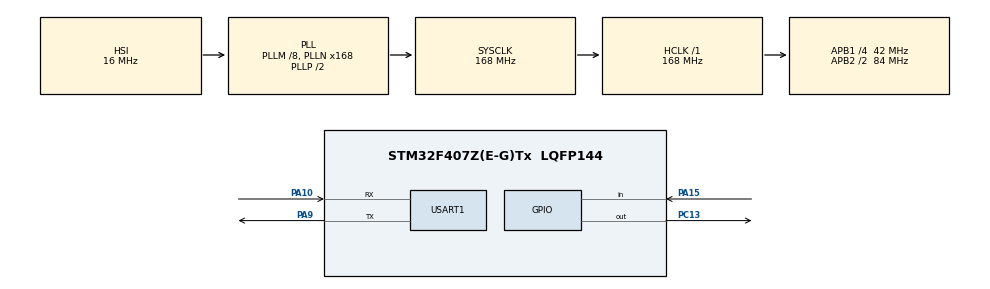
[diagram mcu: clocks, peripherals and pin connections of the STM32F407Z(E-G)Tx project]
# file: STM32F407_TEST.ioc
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FREERTOS.Tasks01=defaultTask,0,128,StartDefaultTask,Default,NULL,Dynamic,NULL,NULL;btnTask,0,256,BtnTask,Default,NULL,Dynamic,NULL,NULL
Mcu.Family=STM32F4
Mcu.Name=STM32F407Z(E-G)Tx
Mcu.Package=LQFP144
NVIC.PriorityGroup=NVIC_PRIORITYGROUP_4
NVIC.TIM1_UP_TIM10_IRQn=true\:15\:0\:false\:false\:true\:false\:false\:true\:true
NVIC.TimeBase=TIM1_UP_TIM10_IRQn
NVIC.TimeBaseIP=TIM1
PA10.Mode=Asynchronous
PA10.Signal=USART1_RX
PA13.Mode=Serial_Wire
PA13.Signal=SYS_JTMS-SWDIO
PA14.Mode=Serial_Wire
PA14.Signal=SYS_JTCK-SWCLK
PA15.Signal=GPIO_Input
PA9.Mode=Asynchronous
PA9.Signal=USART1_TX
PC13-ANTI_TAMP.Signal=GPIO_Output
PC14-OSC32_IN.Mode=LSE-External-Oscillator
PC14-OSC32_IN.Signal=RCC_OSC32_IN
PC15-OSC32_OUT.Mode=LSE-External-Oscillator
PC15-OSC32_OUT.Signal=RCC_OSC32_OUT
PH0-OSC_IN.Mode=HSE-External-Oscillator
PH0-OSC_IN.Signal=RCC_OSC_IN
PH1-OSC_OUT.Mode=HSE-External-Oscillator
PH1-OSC_OUT.Signal=RCC_OSC_OUT
ProjectManager.HeapSize=0x200
ProjectManager.StackSize=0x400
ProjectManager.TargetToolchain=CMake
RCC.48MHZClocksFreq_Value=84000000
RCC.AHBFreq_Value=168000000
RCC.APB1CLKDivider=RCC_HCLK_DIV4
RCC.APB1Freq_Value=42000000
RCC.APB1TimFreq_Value=84000000
RCC.APB2CLKDivider=RCC_HCLK_DIV2
RCC.APB2Freq_Value=84000000
RCC.APB2TimFreq_Value=168000000
RCC.CortexFreq_Value=168000000
RCC.HCLKFreq_Value=168000000
RCC.HSE_VALUE=8000000
RCC.HSI_VALUE=16000000
RCC.PLLM=8
RCC.PLLN=168
RCC.SYSCLKFreq_VALUE=168000000
RCC.SYSCLKSource=RCC_SYSCLKSOURCE_PLLCLK
RCC.VCOOutputFreq_Value=336000000
USART1.VirtualMode=VM_ASYNC
VP_FREERTOS_VS_CMSIS_V1.Mode=CMSIS_V1
VP_SYS_VS_tim1.Mode=TIM1
board=custom

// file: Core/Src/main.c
/* USER CODE BEGIN Header */
/**
  ******************************************************************************
  * @file           : main.c
  * @brief          : Main program body
  ******************************************************************************
  * @attention
  *
  * Copyright (c) 2026 STMicroelectronics.
  * All rights reserved.
  *
  * This software is licensed under terms that can be found in the LICENSE file
  * in the root directory of this software component.
  * If no LICENSE file comes with this software, it is provided AS-IS.
  *
  ******************************************************************************
  */
/* USER CODE END Header */
#include "main.h"
#include "cmsis_os.h"
#include "usart.h"
#include "gpio.h"

/* USER CODE BEGIN Includes */
#include <elog.h>
#include "led_ctrl.h"
/* USER CODE END Includes */

void SystemClock_Config(void);
void MX_FREERTOS_Init(void);

int main(void)
{

  /* MCU Configuration--------------------------------------------------------*/

  /* Reset of all peripherals, Initializes the Flash interface and the Systick. */
  HAL_Init();

  /* Configure the system clock */
  SystemClock_Config();

  /* Initialize all configured peripherals */
  MX_GPIO_Init();
  MX_USART1_UART_Init();
  /* USER CODE BEGIN 2 */
  /* PA15 按键引脚修正（补内部上拉），必须在 MX_GPIO_Init() 之后 */
  GPIO_PA15_ButtonInit();

  /* EasyLogger 初始化：必须放在 MX_USART1_UART_Init() 之后、任务开始打印日志之前。
   * elog_init() 会创建输出锁（FreeRTOS 互斥量，调度器启动前创建是允许的）；
   * elog_start() 打印启动横幅，此时调度器未启动，走阻塞发送分支正常出字。 */
  elog_init();
  /* 逐级设置日志格式。注意：elog.c 中 elog 对象是零初始化的，不调用本接口则
   * 所有格式项均为关闭状态，日志只剩裸消息（无等级/tag/时间）。
   * 这里开启：等级 + tag + 时间 + 任务名 + 函数名 + 行号（不含进程信息、不含文件路径）。 */
  for (uint8_t lvl = ELOG_LVL_ASSERT; lvl <= ELOG_LVL_VERBOSE; lvl++)
  {
    elog_set_fmt(lvl, ELOG_FMT_LVL | ELOG_FMT_TAG | ELOG_FMT_TIME |
                      ELOG_FMT_T_INFO | ELOG_FMT_FUNC | ELOG_FMT_LINE);
  }
  elog_start();
  /* USER CODE END 2 */

  /* Call init function for freertos objects (in cmsis_os2.c) */
  MX_FREERTOS_Init();

  /* Start scheduler */
  osKernelStart();

  /* We should never get here as control is now taken by the scheduler */

  /* Infinite loop */
  while (1)
  {

  }
}

void SystemClock_Config(void)
{
  RCC_OscInitTypeDef RCC_OscInitStruct = {0};
  RCC_ClkInitTypeDef RCC_ClkInitStruct = {0};

  /** Configure the main internal regulator output voltage
  */
  __HAL_RCC_PWR_CLK_ENABLE();
  __HAL_PWR_VOLTAGESCALING_CONFIG(PWR_REGULATOR_VOLTAGE_SCALE1);

  /** Initializes the RCC Oscillators according to the specified parameters
  * in the RCC_OscInitTypeDef structure.
  */
  RCC_OscInitStruct.OscillatorType = RCC_OSCILLATORTYPE_HSI;
  RCC_OscInitStruct.HSIState = RCC_HSI_ON;
  RCC_OscInitStruct.HSICalibrationValue = RCC_HSICALIBRATION_DEFAULT;
  RCC_OscInitStruct.PLL.PLLState = RCC_PLL_ON;
  RCC_OscInitStruct.PLL.PLLSource = RCC_PLLSOURCE_HSI;
  RCC_OscInitStruct.PLL.PLLM = 8;
  RCC_OscInitStruct.PLL.PLLN = 168;
  RCC_OscInitStruct.PLL.PLLP = RCC_PLLP_DIV2;
  RCC_OscInitStruct.PLL.PLLQ = 4;
  if (HAL_RCC_OscConfig(&RCC_OscInitStruct) != HAL_OK)
  {
    Error_Handler();
  }

  /** Initializes the CPU, AHB and APB buses clocks
  */
  RCC_ClkInitStruct.ClockType = RCC_CLOCKTYPE_HCLK|RCC_CLOCKTYPE_SYSCLK
                              |RCC_CLOCKTYPE_PCLK1|RCC_CLOCKTYPE_PCLK2;
  RCC_ClkInitStruct.SYSCLKSource = RCC_SYSCLKSOURCE_PLLCLK;
  RCC_ClkInitStruct.AHBCLKDivider = RCC_SYSCLK_DIV1;
  RCC_ClkInitStruct.APB1CLKDivider = RCC_HCLK_DIV4;
  RCC_ClkInitStruct.APB2CLKDivider = RCC_HCLK_DIV2;

  if (HAL_RCC_ClockConfig(&RCC_ClkInitStruct, FLASH_LATENCY_5) != HAL_OK)
  {
    Error_Handler();
  }
}

void HAL_TIM_PeriodElapsedCallback(TIM_HandleTypeDef *htim)
{
  if (htim->Instance == TIM1)
  {
    HAL_IncTick();
  }
  /* USER CODE BEGIN Callback 1 */
  if (htim->Instance == TIM1)
  {
    /* LED 闪烁/呼吸灯的 1 ms 时基。放在 HAL 时基中断里而不是任务里，是因为
     * 按键回调中的日志（串口阻塞约 7 ms）会打断任务里的 PWM 与闪烁时序。
     * 注意：本回调运行在中断上下文，禁止调用任何日志接口。 */
    led_ctrl_tick_1ms();
  }
  /* USER CODE END Callback 1 */
}

void Error_Handler(void)
{
  __disable_irq();
  while (1)
  {
  }
}

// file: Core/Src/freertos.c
/* USER CODE BEGIN Header */
/**
  ******************************************************************************
  * File Name          : freertos.c
  * Description        : Code for freertos applications
  ******************************************************************************
  * @attention
  *
  * Copyright (c) 2026 STMicroelectronics.
  * All rights reserved.
  *
  * This software is licensed under terms that can be found in the LICENSE file
  * in the root directory of this software component.
  * If no LICENSE file comes with this software, it is provided AS-IS.
  *
  ******************************************************************************
  */
/* USER CODE END Header */

#include "FreeRTOS.h"
#include "task.h"
#include "main.h"
#include "cmsis_os.h"

/* USER CODE BEGIN Includes */
/* LOG_TAG / LOG_LVL 必须在包含 <elog.h> 之前定义，之后即可使用 log_x() 简写接口。
 * LOG_LVL 是"编译期"过滤级别：低于该级别的 log_x() 会被编译为空语句，不占 Flash。 */
#define LOG_TAG    "app"
#define LOG_LVL    ELOG_LVL_DEBUG
#include <elog.h>
#include "btn_app.h"
#include "led_ctrl.h"
/* USER CODE END Includes */

osThreadId defaultTaskHandle;
osThreadId btnTaskHandle;

void StartDefaultTask(void const * argument);
void BtnTask(void const * argument);

void MX_FREERTOS_Init(void); /* (MISRA C 2004 rule 8.1) */

/* GetIdleTaskMemory prototype (linked to static allocation support) */
void vApplicationGetIdleTaskMemory( StaticTask_t **ppxIdleTaskTCBBuffer, StackType_t **ppxIdleTaskStackBuffer, uint32_t *pulIdleTaskStackSize );

/* USER CODE BEGIN GET_IDLE_TASK_MEMORY */
static StaticTask_t xIdleTaskTCBBuffer;
static StackType_t xIdleStack[configMINIMAL_STACK_SIZE];

void vApplicationGetIdleTaskMemory( StaticTask_t **ppxIdleTaskTCBBuffer, StackType_t **ppxIdleTaskStackBuffer, uint32_t *pulIdleTaskStackSize )
{
  *ppxIdleTaskTCBBuffer = &xIdleTaskTCBBuffer;
  *ppxIdleTaskStackBuffer = &xIdleStack[0];
  *pulIdleTaskStackSize = configMINIMAL_STACK_SIZE;
  /* place for user code */
}
/* USER CODE END GET_IDLE_TASK_MEMORY */

void MX_FREERTOS_Init(void) {

  /* Create the thread(s) */
  /* definition and creation of defaultTask */
  osThreadDef(defaultTask, StartDefaultTask, osPriorityNormal, 0, 128);
  defaultTaskHandle = osThreadCreate(osThread(defaultTask), NULL);

  /* definition and creation of btnTask
   * 优先级由 osPriorityIdle 提到 osPriorityNormal：CMSIS-RTOS v1 的
   * makeFreeRtosPriority() 把 osPriorityIdle(-3) 映射成 FreeRTOS 优先级 0，
   * 也就是和空闲任务同级、靠时间片轮转，按键轮询需要确定性。
   * 栈 256 字（1 KB）：调用链 BtnTask → button_ticks → 事件回调 → log_i →
   * elog_output → vsnprintf → HAL_UART_Transmit，与 .ioc 保持一致。 */
  osThreadDef(btnTask, BtnTask, osPriorityNormal, 0, 256);
  btnTaskHandle = osThreadCreate(osThread(btnTask), NULL);

}

void StartDefaultTask(void const * argument)
{
  for(;;)
  {
    osDelay(1);
  }
}

void BtnTask(void const * argument)
{
  /* USER CODE BEGIN BtnTask */
  static uint32_t poll_cnt = 0U;

  /* 顺序有讲究：先让 LED 引擎就绪（led_ctrl_init 会熄灭上电默认点亮的 PC13），
   * 再初始化按键，这样自检日志打出来时 LED 已经进入默认模式。 */
  led_ctrl_init();
  btn_app_init();

  log_i("BtnTask start: LED mode %u (%s), key poll every %u ms",
        (unsigned)led_ctrl_get_mode(),
        led_ctrl_mode_name(led_ctrl_get_mode()),
        (unsigned)BTN_APP_POLL_MS);

  /* Infinite loop */
  for(;;)
  {
    /* 按键轮询：周期必须等于 MultiButton 的 TICKS_INTERVAL（5 ms），
     * 否则单击/双击/长按的时长判定会整体偏移（btn_app.c 有编译期检查）。 */
    btn_app_process();

    /* 每 2000 次（约 10 s）报一次任务栈余量，用于验证栈深度是否足够。
     * 需要 INCLUDE_uxTaskGetStackHighWaterMark = 1（见 FreeRTOSConfig.h）。
     * 余量稳定后本段可直接删除。 */
    if ((++poll_cnt % 2000U) == 0U)
    {
      log_d("BtnTask stack high water mark = %lu words",
            (unsigned long)uxTaskGetStackHighWaterMark(NULL));
    }

    /* 实际周期 = 5 ms + 按键事件日志的串口发送耗时（约 7 ms，仅按键时发生） */
    osDelay(BTN_APP_POLL_MS);
  }
  /* USER CODE END BtnTask */
}
